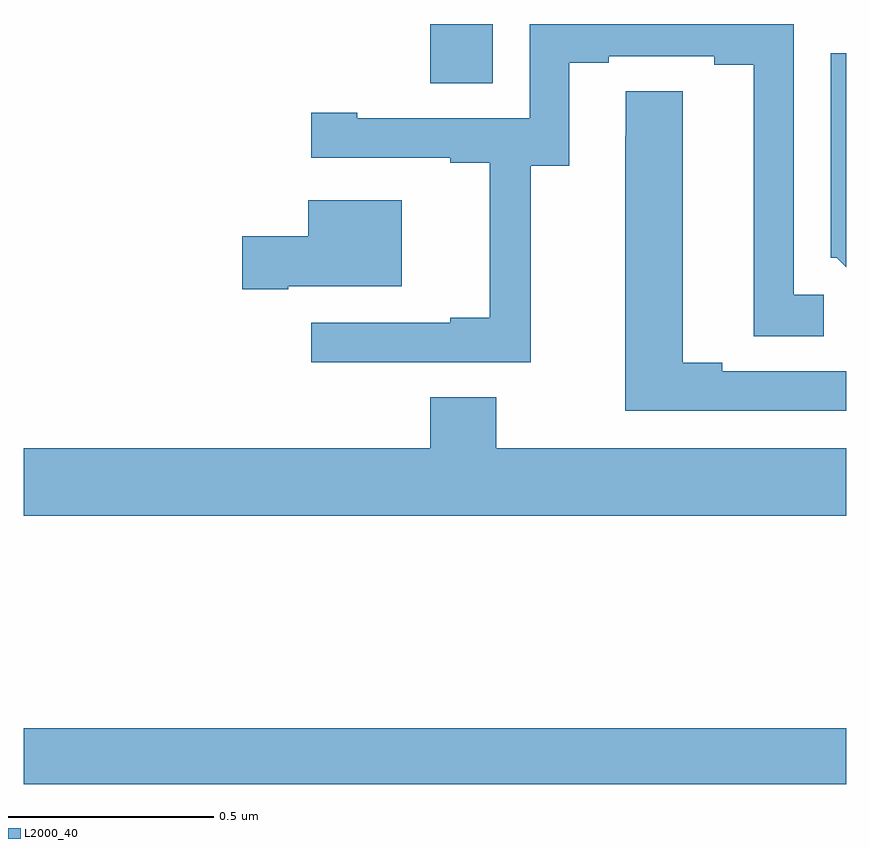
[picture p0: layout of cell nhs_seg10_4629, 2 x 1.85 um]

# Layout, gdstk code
import gdstk
lib = gdstk.Library(unit=1e-6, precision=1e-09)
def R(c, l, rs):  # rectangles x0, y0, x1, y1
    for r in rs: c.add(gdstk.rectangle(r[:2], r[2:], *l))
def P(c, l, *ps):  # polygons
    for p in ps: c.add(gdstk.Polygon(p, *l))
L2000_40 = (2000, 40)

nhs_seg10_4629 = lib.new_cell('nhs_seg10_4629')
R(nhs_seg10_4629, L2000_40, [(168,1311.652,170,1311.788), (168.989,1313.356,169.141,1313.5)])
P(nhs_seg10_4629, L2000_40, [(169.233,1313.155),(169.327,1313.155),(169.327,1313.406),(169.423,1313.406),(169.423,1313.421),(169.679,1313.421),(169.679,1313.401),(169.775,1313.401),(169.775,1312.741),(169.945,1312.741),(169.945,1312.842),(169.872,1312.842),(169.872,1313.5),(169.23,1313.5),(169.23,1313.271),(168.811,1313.271),(168.811,1313.284),(168.699,1313.284),(168.699,1313.175),(169.037,1313.175),(169.037,1313.163),(169.133,1313.163),(169.133,1312.786),(169.037,1312.786),(169.037,1312.773),(168.699,1312.773),(168.699,1312.677),(169.233,1312.677)],
  [(170,1313.429),(169.962,1313.429),(169.962,1312.932),(169.977,1312.932),(170,1312.909)],
  [(170,1312.656),(169.699,1312.656),(169.699,1312.676),(169.603,1312.676),(169.603,1313.336),(169.464,1313.336),(169.464,1313.228),(169.463,1313.228),(169.463,1312.56),(170,1312.56)],
  [(168.643,1312.862),(168.919,1312.862),(168.919,1313.071),(168.692,1313.071),(168.692,1312.984),(168.531,1312.984),(168.531,1312.855),(168.643,1312.855)],
  [(170,1312.468),(169.149,1312.468),(169.149,1312.592),(168.989,1312.592),(168.989,1312.468),(168,1312.468),(168,1312.304),(170,1312.304)])

lib.write_gds('nhs_seg10_4629.gds')
